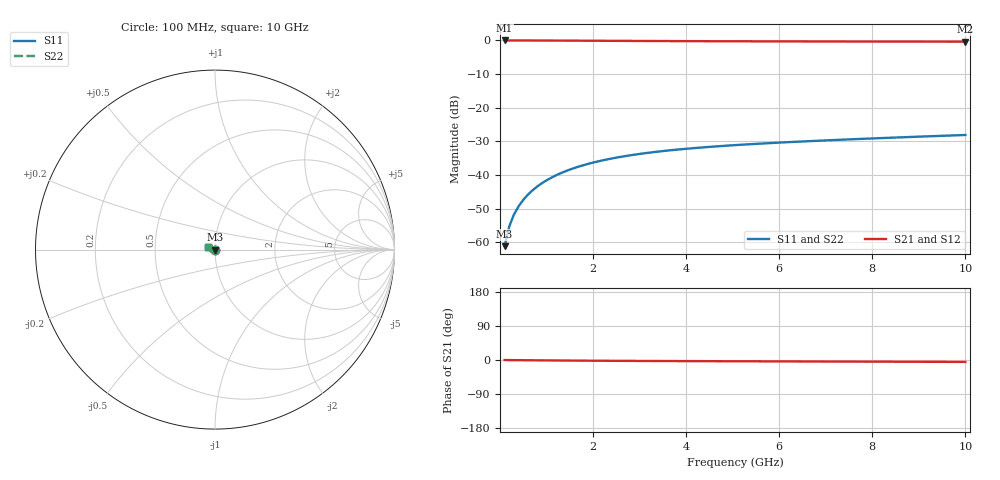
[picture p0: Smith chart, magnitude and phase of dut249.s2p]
! Touchstone file exported from HFSS 2024.1.0
!  File:  C:/UserFiles/LocalFiles/RDL_TSV_Batchsim/temp_TSV1_249_1779390335.aedt
!  Generated:  03:10:59 AM May 22, 2026
!  Design:  TSV1
!  Project:  temp_TSV1_249_1779390335
!  Setup:  Setup1
!  Solution:  Sweep
! Variables:
!  dtsv = 7.99um
!  hbump = 3um
!  htsv = 75.38um
!  lrdl = 252.1521522um
!  p = 40
!  p1 = 53.38um
!  t = 500um
!  trdl = 3um
!  wrdl = 24.89489489um
# GHz S MA R 50.000000
! Terminal data exported
! Port[1] = TSV22_T1
! Port[2] = TSV22_T2
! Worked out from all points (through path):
!   100 points, 100 MHz to 10 GHz, reference 50 ohm
!   highest |S21| = 0.00 dB at 100 MHz (marker M1); lowest = -0.4 dB at 10 GHz (marker M2)
!   lowest |S11| = -61.1 dB at 100 MHz (marker M3), VSWR 1.00, Z = 50 - j0.0861 ohm
!   |S11| at or under -10 dB: start of sweep to end of sweep
!   |S22| runs from -61.1 to -28.1 dB; largest |S21 - S12| = 4e-15
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0.1  0.0008806 -77.8  0.9997 -0.1  0.9997 -0.1  0.0008806 -77.8
! Gamma 0 0 0 0
! Port Impedance 50 0 50 0
0.2  0.001733 -86.8  0.9996 -0.2  0.9996 -0.2  0.001733 -86.8
0.3  0.002588 -91.3  0.9995 -0.3  0.9995 -0.3  0.002588 -91.3
0.4  0.00344 -94.6  0.9992 -0.4  0.9992 -0.4  0.00344 -94.6
0.5  0.004285 -97.4  0.999 -0.5  0.999 -0.5  0.004285 -97.4
0.6  0.005122 -99.9  0.9986 -0.6  0.9986 -0.6  0.005122 -99.9
0.7  0.00595 -102.3  0.9982 -0.8  0.9982 -0.8  0.00595 -102.3
0.8  0.006765 -104.6  0.9978 -0.9  0.9978 -0.9  0.006765 -104.6
0.9  0.007569 -106.8  0.9973 -1.0  0.9973 -1.0  0.007569 -106.8
1.1  0.009133 -111.1  0.9962 -1.1  0.9962 -1.1  0.009133 -111.1
1.4  0.01136 -117.1  0.9943 -1.4  0.9943 -1.4  0.01136 -117.1
1.6  0.01276 -120.9  0.9929 -1.6  0.9929 -1.6  0.01276 -120.9
1.8  0.01409 -124.6  0.9914 -1.7  0.9914 -1.7  0.01409 -124.6
2.1  0.01595 -129.9  0.9892 -2.0  0.9892 -2.0  0.01595 -129.9
2.5  0.01819 -136.4  0.9862 -2.2  0.9862 -2.2  0.01819 -136.4
2.9  0.02017 -142.5  0.9833 -2.4  0.9833 -2.4  0.02017 -142.5
3.4  0.02235 -149.4  0.98 -2.7  0.98 -2.7  0.02235 -149.4
4.2  0.02528 -159.2  0.9754 -3.0  0.9754 -3.0  0.02528 -159.2
5.1  0.02802 -168.7  0.9713 -3.4  0.9713 -3.4  0.02802 -168.7
6.7  0.03208 177.6  0.9661 -3.9  0.9661 -3.9  0.03208 177.6
8.4  0.03593 166.0  0.9625 -4.5  0.9625 -4.5  0.03593 166.0
10  0.03944 157.1  0.9601 -5.0  0.9601 -5.0  0.03944 157.1
